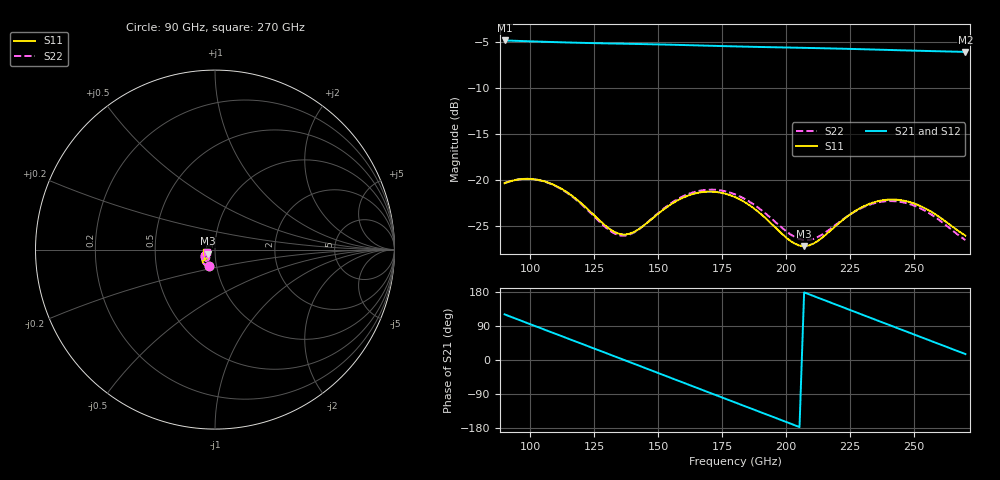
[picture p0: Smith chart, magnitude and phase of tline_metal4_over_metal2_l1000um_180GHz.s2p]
#  GHZ S DB R 50
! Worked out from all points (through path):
!   101 points, 90 GHz to 270 GHz, reference 50 ohm
!   highest |S21| = -4.84 dB at 90 GHz (marker M1); lowest = -6.1 dB at 270 GHz (marker M2)
!   group delay of S21, straight-line fit = 7.17 ps
!   lowest |S11| = -27.2 dB at 207 GHz (marker M3), VSWR 1.09, Z = 46.3 - j2.13 ohm
!   |S11| at or under -10 dB: start of sweep to end of sweep
!   |S22| runs from -26.5 to -19.9 dB; largest |S21 - S12| = 6.4e-14
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90  -20.32 -109.3  -4.84 120.4  -4.84 120.4  -20.31 -109.0
97.2  -19.86 -119.9  -4.91 101.8  -4.91 101.8  -19.86 -119.7
104.4  -20.04 -131.0  -4.97 83.2  -4.97 83.2  -20.06 -130.9
111.6  -20.83 -141.2  -5.04 64.7  -5.04 64.7  -20.88 -141.1
120.6  -22.66 -149.6  -5.10 41.5  -5.10 41.5  -22.76 -149.4
129.6  -24.98 -147.5  -5.16 18.4  -5.16 18.4  -25.14 -146.8
136.8  -25.89 -136.2  -5.20 -0.2  -5.20 -0.2  -26.02 -134.6
144  -24.99 -125.7  -5.23 -18.8  -5.23 -18.8  -24.99 -123.7
151.2  -23.37 -124.0  -5.28 -37.5  -5.28 -37.5  -23.28 -122.2
165.6  -21.36 -137.4  -5.38 -74.8  -5.38 -74.8  -21.17 -135.9
172.8  -21.28 -146.9  -5.43 -93.4  -5.43 -93.4  -21.04 -145.5
180  -21.83 -156.0  -5.48 -111.9  -5.48 -111.9  -21.53 -154.7
194.4  -24.76 -165.3  -5.57 -149.0  -5.57 -149.0  -24.20 -164.7
207  -27.15 -148.5  -5.64 178.4  -5.64 178.4  -26.49 -151.5
210.6  -26.88 -141.2  -5.66 169.1  -5.66 169.1  -26.37 -145.2
217.8  -25.33 -133.1  -5.71 150.4  -5.71 150.4  -25.15 -137.4
226.8  -23.36 -135.0  -5.77 127.1  -5.77 127.1  -23.40 -138.6
234  -22.41 -141.5  -5.82 108.5  -5.82 108.5  -22.53 -144.6
241.2  -22.09 -149.7  -5.88 89.9  -5.88 89.9  -22.26 -152.4
253.8  -22.98 -162.7  -5.97 57.4  -5.97 57.4  -23.25 -165.0
262.8  -24.58 -166.4  -6.03 34.2  -6.03 34.2  -24.96 -168.3
270  -26.00 -162.5  -6.08 15.7  -6.08 15.7  -26.49 -163.4
